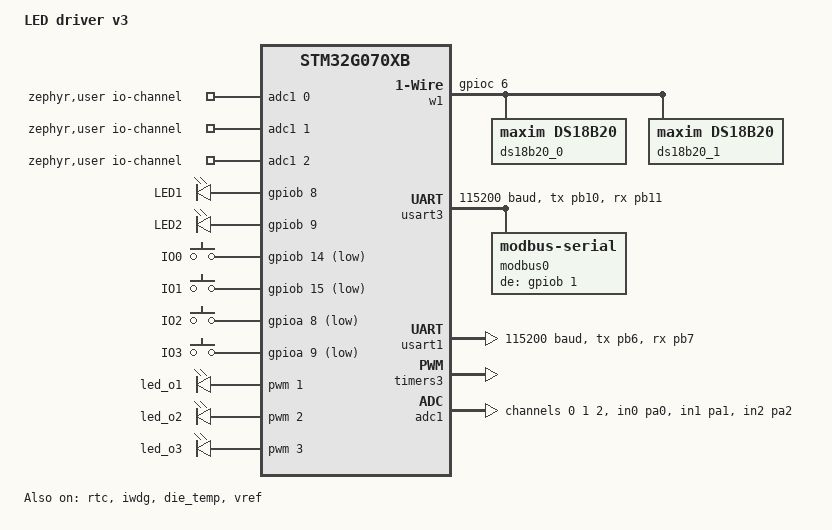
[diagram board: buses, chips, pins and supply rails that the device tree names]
/*
 * Copyright (c) 2023 Marin Jurjević <marin.jurjevic@hotmail.com>
 *
 * SPDX-License-Identifier: Apache-2.0
 */

/dts-v1/;
#include <st/g0/stm32g070Xb.dtsi>
#include <st/g0/stm32g070rbtx-pinctrl.dtsi>
#include <zephyr/dt-bindings/input/input-event-codes.h>

/ {
	model = "LED driver v3";
	compatible = "jethro,led_driver_v3";

	chosen {
		zephyr,console = &usart1;
		zephyr,shell-uart = &usart1;
		zephyr,sram = &sram0;
		zephyr,flash = &flash0;
	};

	zephyr,user {
		io-channels = <&adc1 0>, <&adc1 1>, <&adc1 2> ;
	};

	leds: leds {
		compatible = "gpio-leds";

		green_led_1: led_1 {
			gpios = <&gpiob 8 GPIO_ACTIVE_HIGH>;
			label = "LED1";
		};
		green_led_2: led_2 {
			gpios = <&gpiob 9 GPIO_ACTIVE_HIGH>;
			label = "LED2";
		};
	};

	gpio_keys {
		compatible = "gpio-keys";

		io0: button_0 {
			label = "IO0";
			gpios = <&gpiob 14 GPIO_ACTIVE_LOW>;
			zephyr,code = <INPUT_KEY_0>;
		};
		io1: button_1 {
			label = "IO1";
			gpios = <&gpiob 15 GPIO_ACTIVE_LOW>;
			zephyr,code = <INPUT_KEY_1>;
		};
		io2: button_2 {
			label = "IO2";
			gpios = <&gpioa 8 GPIO_ACTIVE_LOW>;
			zephyr,code = <INPUT_KEY_2>;
		};
		io3: button_3 {
			label = "IO3";
			gpios = <&gpioa 9 GPIO_ACTIVE_LOW>;
			zephyr,code = <INPUT_KEY_3>;
		};
	};

	// W1
	w1: w1 {
		compatible = "zephyr,w1-gpio";
		gpios = <&gpioc 6 (GPIO_ACTIVE_HIGH | GPIO_OPEN_DRAIN | GPIO_PULL_UP)>;
		status = "okay";

		ds18b20_0: ds18b20_0 {
			compatible = "maxim,ds18b20";
			family-code = <0x28>;
			resolution = <12>;
			status = "okay";
		};

		ds18b20_1: ds18b20_1 {
			compatible = "maxim,ds18b20";
			family-code = <0x28>;
			resolution = <12>;
			status = "okay";
		};
	};

	pwmleds {
		compatible = "pwm-leds";

		led_o1: led_o1 {
			pwms = <&pwm 1 65535 PWM_POLARITY_NORMAL>;
		};
		led_o2: led_o2 {
			pwms = <&pwm 2 65535 PWM_POLARITY_NORMAL>;
		};
		led_o3: led_o3 {
			pwms = <&pwm 3 65535 PWM_POLARITY_NORMAL>;
		};
/*
		green_pwm_led: green_pwm_led {
			pwms = <&pwm2 0 15625000 PWM_POLARITY_INVERTED>;
		};

		blue_pwm_led: blue_pwm_led {
			pwms = <&pwm3 5 15625000 PWM_POLARITY_INVERTED>;
		};
*/
	};

	aliases {
		led1 = &green_led_1;
		led2 = &green_led_2;
		sw0 = &io0;
		sw1 = &io1;
		sw2 = &io2;
		sw3 = &io3;
		watchdog0 = &iwdg;
		die-temp0 = &die_temp;
		volt-sensor0 = &vref;
		pwmled1 = &led_o1;
		pwmled2 = &led_o2;
		pwmled3 = &led_o3;
		adc0 = &adc1;

	};
};

&clk_lsi {
	status = "okay";
};

&clk_hsi {
	status = "okay";
};

&pll {
	div-m = <1>;
	mul-n = <8>;
	div-p = <2>;
	div-r = <2>;
	clocks = <&clk_hsi>;
	status = "okay";
};

&rcc {
	clocks = <&pll>;
	clock-frequency = <DT_FREQ_M(64)>;
	ahb-prescaler = <1>;
	apb1-prescaler = <1>;
};

&usart3 {
	pinctrl-0 = <&usart3_tx_pb10 &usart3_rx_pb11>;
	pinctrl-names = "default";
	current-speed = <115200>;
	status = "okay";

	modbus0 {
		compatible = "zephyr,modbus-serial";
		status = "okay";
		de-gpios = <&gpiob 1 GPIO_ACTIVE_HIGH>;	/* PB1 */
	};

};


&usart1 {
	pinctrl-0 = <&usart1_tx_pb6 &usart1_rx_pb7>;
	pinctrl-names = "default";
	current-speed = <115200>;
	status = "okay";

};


&rtc {
	clocks = <&rcc STM32_CLOCK(APB1, 10)>,
		 <&rcc STM32_SRC_LSI RTC_SEL(2)>;

	status = "okay";
};

&iwdg {
	status = "okay";
};

&timers3 {
	st,prescaler = <1>;
	status = "okay";

	pwm: pwm {
		status = "okay";
		pinctrl-0 = <&tim3_ch1_pa6 &tim3_ch2_pa7 &tim3_ch3_pb0>;
		pinctrl-names = "default";
	};
};



/*
&i2c1 {
	pinctrl-0 = <&i2c1_scl_pb6 &i2c1_sda_pb7>;
	pinctrl-names = "default";
	status = "okay";
	clock-frequency = <I2C_BITRATE_FAST>;
};
*/
&adc1 {

//	clocks = <&rcc STM32_CLOCK(APB1_2, 20)>,<&rcc STM32_SRC_SYSCLK ADC_SEL(0)>;
	pinctrl-0 = <&adc1_in0_pa0 &adc1_in1_pa1 &adc1_in2_pa2>;
	pinctrl-names = "default";
	st,adc-clock-source = "SYNC";
	st,adc-prescaler = <4>;
	status = "okay";


	dmas = < &dmamux1 0 5 (STM32_DMA_PERIPH_TO_MEMORY |
		STM32_DMA_MEM_INC |  STM32_DMA_MEM_16BITS | STM32_DMA_PERIPH_16BITS) >;

	dma-names = "dmamux";

	#address-cells = <1>;
	#size-cells = <0>;

	channel@0 {
		reg = <0>;
		zephyr,gain = "ADC_GAIN_1";
		zephyr,reference = "ADC_REF_INTERNAL";
		zephyr,acquisition-time = <ADC_ACQ_TIME_MAX>;
		zephyr,resolution = <12>;
	};

	channel@1 {
		reg = <1>;
		zephyr,gain = "ADC_GAIN_1";
		zephyr,reference = "ADC_REF_INTERNAL";
		zephyr,acquisition-time = <ADC_ACQ_TIME_MAX>;
		zephyr,resolution = <12>;
	};

	channel@2 {
		reg = <2>;
		zephyr,gain = "ADC_GAIN_1";
		zephyr,reference = "ADC_REF_INTERNAL";
		zephyr,acquisition-time = <ADC_ACQ_TIME_MAX>;
		zephyr,resolution = <12>;
	};
};

&dma1 {
    status = "okay";
};

test_dma: &dmamux1 {
	status = "okay";
};

&die_temp {
	status = "okay";
};

&flash0 {
	partitions {
		compatible = "fixed-partitions";
		#address-cells = <1>;
		#size-cells = <1>;

		/* Set 4KB of storage at the end of 128KB flash */
		storage_partition: partition@1f000 {
			label = "storage";
			reg = <0x0001f000 DT_SIZE_K(4)>;
		};
	};
};

&vref {
	status = "okay";
};
